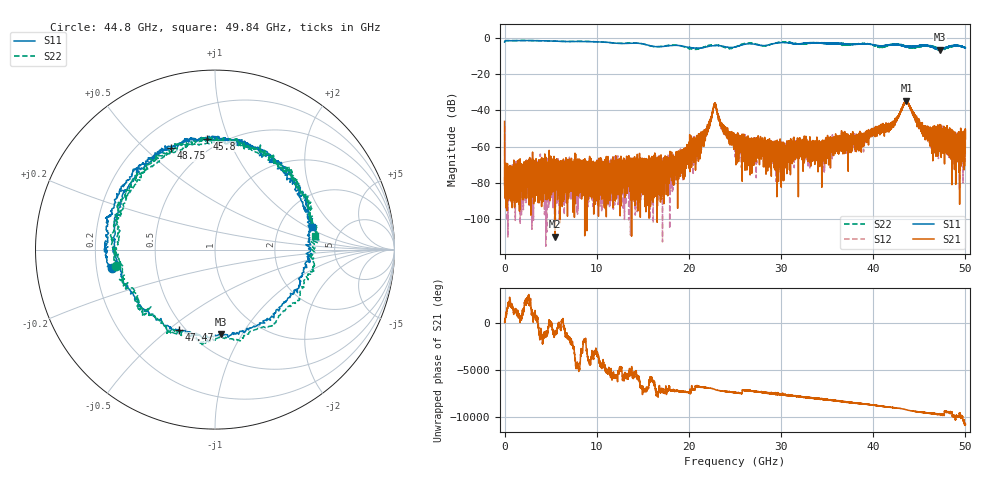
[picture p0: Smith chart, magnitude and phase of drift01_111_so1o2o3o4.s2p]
!Created with skrf (http://scikit-rf.org).
# Hz S RI R 50.0
!freq ReS11 ImS11 ReS21 ImS21 ReS12 ImS12 ReS22 ImS22
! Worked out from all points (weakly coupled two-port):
!   10001 points, 300 kHz to 50 GHz, reference 50 ohm
!   highest |S21| = -34.55 dB at 43.61 GHz (marker M1); lowest = -109.8 dB at 5.445 GHz (marker M2)
!   lowest |S11| = -6.5 dB at 47.28 GHz (marker M3), VSWR 2.78, Z = 33.5 - j40.6 ohm
!   |S11| at or under -10 dB: nowhere
!   |S22| runs from -6.4 to -1.4 dB; largest |S21 - S12| = 0.0047
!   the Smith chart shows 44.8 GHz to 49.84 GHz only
!   S11 on the Smith chart (normalised r, x): 44.8 GHz: 0.26, -0.08; 45.8 GHz: 0.42, +0.84; 47.47 GHz: 0.46, -0.54; 48.75 GHz: 0.33, +0.60; 49.84 GHz: 3.04, +1.12
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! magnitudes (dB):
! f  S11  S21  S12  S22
! 300 kHz  -2.2  -46.1  -48.8  -2.0
! 255.3 MHz  -1.4  -81.6  -83.7  -1.4
! 475.3 MHz  -1.5  -77.0  -74.5  -1.5
! 5.445 GHz  -1.7  -109.8  -85.5  -1.7
! 8.335 GHz  -1.9  -76.9  -73.1  -1.8
! 16.67 GHz  -4.8  -85.9  -77.6  -4.8
! 20.82 GHz  -5.6  -56.6  -61.8  -6.2
! 21.86 GHz  -5.0  -52.5  -53.1  -4.6
! 22.79 GHz  -4.3  -36.3  -36.3  -4.0
! 23.66 GHz  -4.5  -49.2  -49.9  -4.8
! 25 GHz  -5.0  -58.9  -55.1  -5.1
! 29.49 GHz  -2.8  -64.6  -62.5  -2.7
! 33.34 GHz  -2.6  -61.1  -61.8  -2.7
! 41.67 GHz  -3.9  -47.1  -49.1  -4.2
! 43.61 GHz  -4.6  -34.6  -35.0  -4.7
! 44.8 GHz  -4.7  -46.5  -44.3  -5.0
! 45.8 GHz  -4.1  -50.1  -52.5  -4.1
! 47.28 GHz  -6.5  -53.6  -53.8  -5.7
! 47.47 GHz  -6.2  -52.1  -55.7  -6.0
! 48.75 GHz  -4.2  -52.9  -57.3  -4.6
! 49.84 GHz  -5.1  -53.9  -52.9  -5.0
! 50 GHz  -5.6  -55.6  -53.8  -5.3
